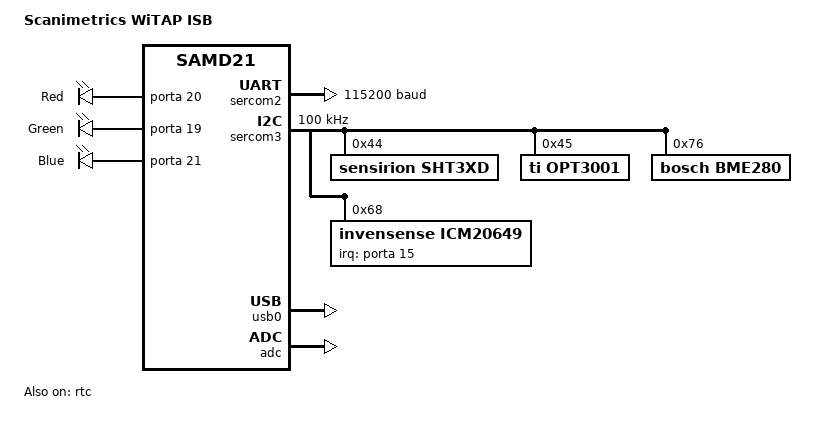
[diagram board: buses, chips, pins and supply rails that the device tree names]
/*
 * Copyright (c) 2019 Scanimetrics Inc.
 *
 * SPDX-License-Identifier: Apache-2.0
 */

/*
 *
 *  See this guide for device tree info
 *  https://docs.zephyrproject.org/latest/guides/dts/index.html
 *
 *  The device tree specification is here:
 *  https://www.devicetree.org/specifications/
 *
 */

/dts-v1/;
#include <atmel/samd21.dtsi>

/ {
	model = "Scanimetrics WiTAP ISB";
	compatible = "scanimetrics,witap_isb", "atmel,samd21g18a", "atmel,samd21";

	chosen {
		zephyr,console = &sercom2;
		zephyr,shell-uart = &sercom2;
		zephyr,sram = &sram0;
		zephyr,flash = &flash0;
        zephyr,code-partition = &code_partition;
	};

	/* These aliases are provided for compatibility with samples */
	aliases {
		led0 = &led0;
		led1 = &led1;
		led2 = &led2;
	};

	leds {
		compatible = "gpio-leds";
		led0: led_0 {
			gpios = <&porta 20 0>;
			label = "Red";
		};
		led1: led_1 {
			gpios = <&porta 19 0>;
			label = "Green";
		};
		led2: led_2 {
			gpios = <&porta 21 0>;
			label = "Blue";
		};
	};

};

&cpu0 {
	clock-frequency = <48000000>;
};

&sercom0 {
	status = "disabled";
	compatible = "atmel,sam0-i2c";
	#address-cells = <1>;
	#size-cells = <0>;
    //  see ZEPHYR_INCLUDE_DT_BINDINGS_I2C_I2C_H_ for frequency defines
    clock-frequency = <I2C_BITRATE_STANDARD>;
};

&sercom2 {
	status = "okay";
	compatible = "atmel,sam0-uart";
	current-speed = <115200>;
	rxpo = <1>;
	txpo = <0>;
};

&sercom3 {
	status = "okay";
	compatible = "atmel,sam0-i2c";
    //  see zephyr/include/dt-bindings/i2c/i2c.h for device tree frequency defines
    clock-frequency = <I2C_BITRATE_STANDARD>;
	#address-cells = <1>;
	#size-cells = <0>;
    dma = <0>;

	ths0: sht3xd@44 {
		compatible = "sensirion,sht3xd";
		label = "SHT3XD";
		reg = <0x44>;
		// alert-gpios = <&gpiof 6 GPIO_INT_ACTIVE_HIGH>;
	};

    als0: opt3001@45 {
		compatible = "ti,opt3001";
		label = "OPT3001";
		reg = <0x45>;
    };

    bps0: bme280@76 {
        compatible = "bosch,bme280";
        label = "BME280";
        reg = <0x76>;
    };

	imu0: icm20649@68 {
		compatible = "invensense,icm20649";
        label = "ICM20649";
		reg = <0x68>;
        irq-gpios = <&porta 15 0>;
    };
};

&sercom5 {
	status = "disabled";
	compatible = "atmel,sam0-i2c";
    //  see ZEPHYR_INCLUDE_DT_BINDINGS_I2C_I2C_H_ for frequency defines
    clock-frequency = <I2C_BITRATE_FAST>;
    // label = "I2C_1";
	#address-cells = <1>;
	#size-cells = <0>;
};

/*
 *  See this link for additional info on flash partitions
 *  https://github.com/zephyrproject-rtos/zephyr/blob/master/doc/guides/dts/flash_partitions.inc
 *
 *  Note, for some reason, code is not place automatically in the code partition
 *  To do so, you need to ensure that the base address is set in your project config
 *  For example:
 *    CONFIG_FLASH_BASE_ADDRESS=0x2000
 *
 */

&flash0 {
	partitions {
		compatible = "fixed-partitions";
		#address-cells = <1>;
		#size-cells = <1>;

		boot_partition: partition@0 {
			label = "sam-ba";
			reg = <0x00000000 0x2000>;
			read-only;
		};

		code_partition: partition@2000 {
			label = "code";
			reg = <0x2000 0x3c000>;
			read-only;
		};

		/*
		 * The final 16 KiB is reserved for the application
		 * and is used by NFFS if enabled.
		 */
		storage_partition: partition@3e000 {
			label = "storage";
			reg = <0x0003e000 0x00002000>;
		};
	};
};

&usb0 {
	status = "okay";
};

&rtc {
    status = "okay";
    /*  use GCLK1 (xosc32k) as the source for the rtc  */
	clock-generator = <1>;
};

&adc {
    status = "okay";
};
